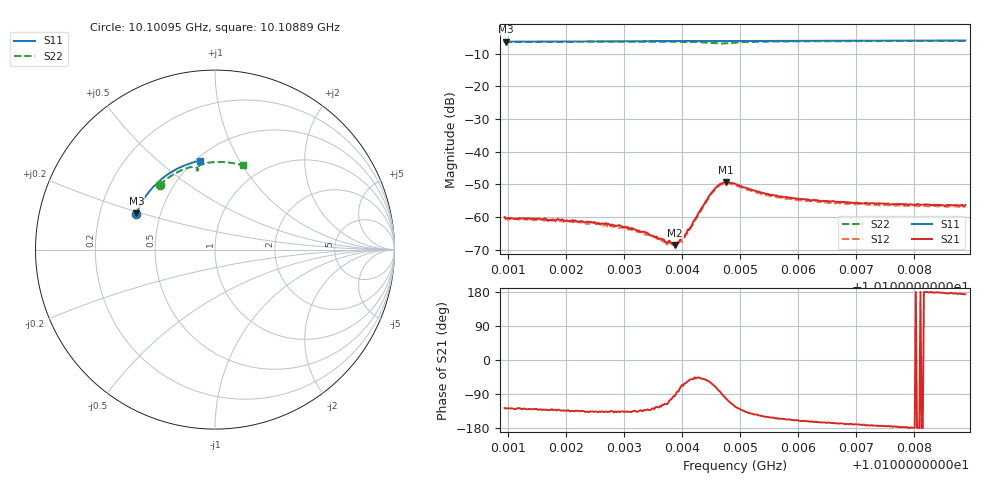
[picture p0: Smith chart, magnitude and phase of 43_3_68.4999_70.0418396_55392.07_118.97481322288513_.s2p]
#  HZ  S  RI  R  50.00
! Rohde & Schwarz Vector Network Analyzer
! Rohde-Schwarz,ZNB20-2Port,1311601062101988,3.16
! Created: UTC 3/20/2024, 5:05:41 PM
! freq[Hz]  re:S11  im:S11  re:S21  im:S21  re:S12  im:S12  re:S22  im:S22
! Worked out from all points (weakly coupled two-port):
!   401 points, 10.10095 GHz to 10.10889 GHz, reference 50 ohm
!   highest |S21| = -49.35 dB at 10.10476 GHz (marker M1); lowest = -68.6 dB at 10.10388 GHz (marker M2)
!   lowest |S11| = -6.3 dB at 10.10097 GHz (marker M3), VSWR 2.86, Z = 18.2 + j9.55 ohm
!   |S11| at or under -10 dB: nowhere
!   |S22| runs from -6.9 to -6.1 dB; largest |S21 - S12| = 0.00034
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1.0100946e10  -0.438 0.2002  -0.000599 -0.0008  -0.000486 -0.000797  -0.3087 0.3599
1.0100966e10  -0.4374 0.2012  -0.000579 -0.00074  -0.000509 -0.000796  -0.3077 0.3607
1.0101541e10  -0.4233 0.2333  -0.000629 -0.000717  -0.000565 -0.000748  -0.2795 0.3851
1.0102276e10  -0.4021 0.2726  -0.000604 -0.000624  -0.000552 -0.000616  -0.2406 0.4128
1.0102693e10  -0.3883 0.294  -0.000583 -0.000555  -0.000526 -0.000557  -0.217 0.427
1.010301e10  -0.3772 0.3097  -0.000506 -0.00047  -0.000472 -0.000506  -0.1984 0.4368
1.0103387e10  -0.363 0.3278  -0.000386 -0.000434  -0.000323 -0.000418  -0.1749 0.4473
1.0103526e10  -0.3576 0.3342  -0.000314 -0.000379  -0.000265 -0.000421  -0.1659 0.4508
1.0103606e10  -0.3546 0.3379  -0.000266 -0.000372  -0.000197 -0.000386  -0.1607 0.4527
1.0103844e10  -0.345 0.3486  -5.36e-05 -0.000375  -2.33e-05 -0.000387  -0.1442 0.4575
1.0103883e10  -0.3432 0.3504  -3.15e-05 -0.000371  3.92e-05 -0.000356  -0.1411 0.4582
1.0103963e10  -0.3399 0.3541  0.000106 -0.000412  0.000154 -0.000407  -0.1353 0.4594
1.0104042e10  -0.3366 0.3574  0.000229 -0.000428  0.000254 -0.00043  -0.1291 0.4604
1.0104459e10  -0.3184 0.375  0.00114 -0.00168  0.00122 -0.00149  -0.096 0.4525
1.0104538e10  -0.3149 0.3782  0.00105 -0.00229  0.00121 -0.00211  -0.0932 0.4467
1.0104658e10  -0.3095 0.3829  0.000363 -0.00318  0.000585 -0.003  -0.096 0.4402
1.0104757e10  -0.3052 0.3869  -0.000656 -0.00335  -0.000339 -0.00325  -0.1012 0.4418
1.0104916e10  -0.2978 0.3932  -0.00175 -0.00271  -0.00141 -0.00276  -0.1018 0.4532
1.0105471e10  -0.2713 0.4138  -0.00195 -0.00112  -0.00176 -0.00124  -0.0664 0.4775
1.0106246e10  -0.232 0.4391  -0.00171 -0.000532  -0.0016 -0.000675  -0.0135 0.4869
1.0107575e10  -0.1592 0.4734  -0.00156 -0.000131  -0.00149 -0.000245  0.0731 0.4857
1.0108885e10  -0.083 0.4947  -0.00152 0.000173  -0.00146 7.52e-06  0.1553 0.4688
